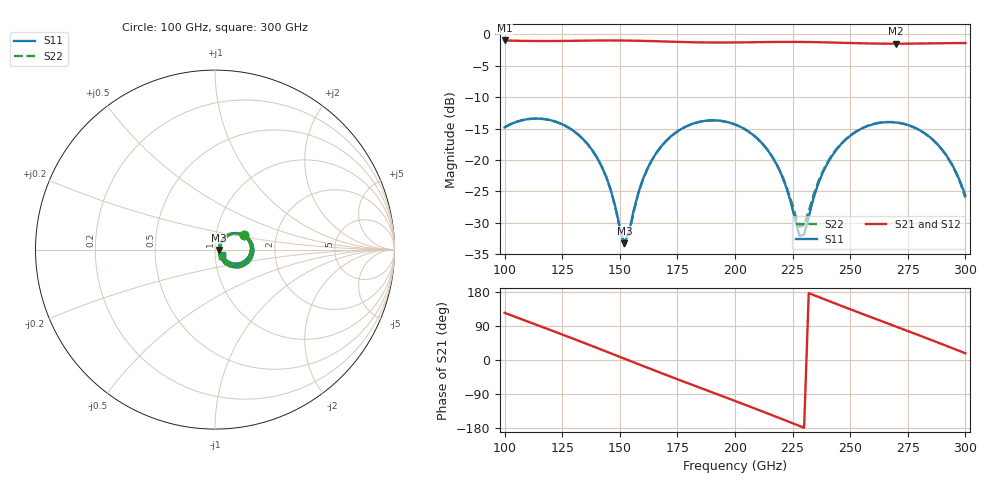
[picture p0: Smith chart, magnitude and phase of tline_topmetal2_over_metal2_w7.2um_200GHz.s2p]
#  GHZ S DB R 50
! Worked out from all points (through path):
!   101 points, 100 GHz to 300 GHz, reference 50 ohm
!   highest |S21| = -0.96 dB at 100 GHz (marker M1); lowest = -1.5 dB at 270 GHz (marker M2)
!   group delay of S21, straight-line fit = 6.49 ps
!   lowest |S11| = -33.3 dB at 152 GHz (marker M3), VSWR 1.04, Z = 52.2 - j0.25 ohm
!   |S11| at or under -10 dB: start of sweep to end of sweep
!   |S22| runs from -33.7 to -13.4 dB; largest |S21 - S12| = 1e-13
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100  -14.80 26.2  -0.96 124.5  -0.96 124.5  -14.81 26.3
118  -13.53 -10.6  -1.05 83.3  -1.05 83.3  -13.53 -10.6
134  -16.66 -42.3  -0.99 46.3  -0.99 46.3  -16.67 -42.6
144  -22.60 -56.1  -0.96 22.6  -0.96 22.6  -22.62 -56.8
152  -33.29 -6.3  -0.97 3.5  -0.97 3.5  -33.74 -6.9
160  -23.11 53.1  -1.03 -15.6  -1.03 -15.6  -23.17 54.1
168  -17.82 43.7  -1.11 -34.4  -1.11 -34.4  -17.85 44.4
184  -13.97 13.1  -1.26 -71.4  -1.26 -71.4  -13.98 13.7
200  -14.34 -19.0  -1.28 -108.1  -1.28 -108.1  -14.34 -18.1
210  -16.70 -38.2  -1.23 -131.3  -1.23 -131.3  -16.68 -36.8
218  -20.68 -50.2  -1.20 -150.2  -1.20 -150.2  -20.60 -47.7
222  -24.09 -51.6  -1.19 -159.7  -1.19 -159.7  -23.89 -47.8
228  -32.10 -15.1  -1.19 -174.0  -1.19 -174.0  -30.64 -11.6
230  -31.90 19.9  -1.20 -178.8  -1.20 -178.8  -30.41 17.0
234  -26.22 50.5  -1.22 171.7  -1.22 171.7  -25.71 45.6
240  -20.62 51.5  -1.27 157.4  -1.27 157.4  -20.46 48.3
248  -16.78 39.5  -1.34 138.6  -1.34 138.6  -16.71 37.2
258  -14.53 20.7  -1.43 115.5  -1.43 115.5  -14.50 18.8
268  -13.98 1.1  -1.47 92.5  -1.47 92.5  -13.96 -0.7
270  -14.04 -2.9  -1.47 88.0  -1.47 88.0  -14.02 -4.6
288  -17.55 -35.6  -1.41 46.2  -1.41 46.2  -17.57 -38.0
300  -25.66 -37.7  -1.37 17.7  -1.37 17.7  -26.02 -42.4
